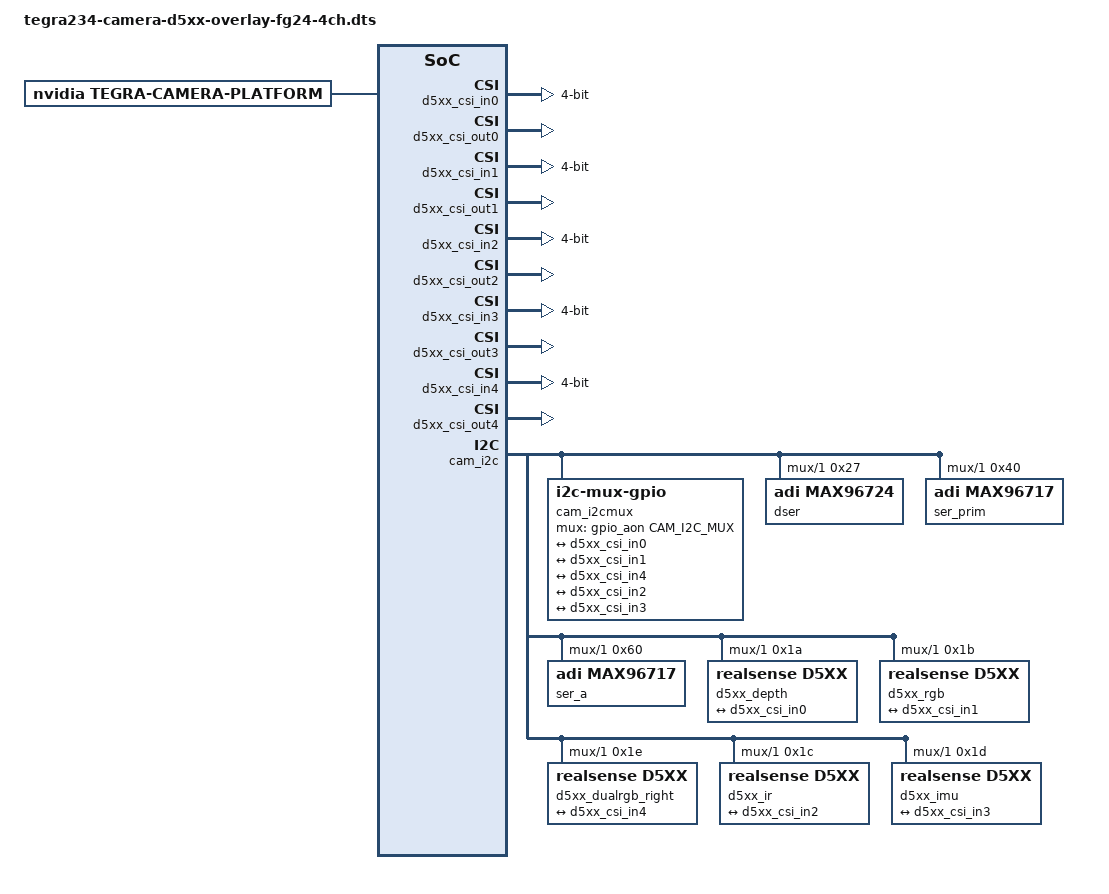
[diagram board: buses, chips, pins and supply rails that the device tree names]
// SPDX-License-Identifier: GPL-2.0-only
// SPDX-FileCopyrightText: Copyright (c) 2026, RealSense CORPORATION.  All rights reserved.

/*
 * Device tree overlay for RealSense D585 depth camera on FangZhu FG24-4CH board:
 *   Serializer:   MAX96717
 *   Deserializer: MAX96724
 *   Camera SoC:   HKR
 *   I2C Mux:      GPIO-based (i2c-mux-gpio)
 *   Board:        FangZhu FG24-4CH (Orin Nano/NX P3767+P3768)
 *
 * NAMING NOTE
 *   "FG24-4CH" is the CARRIER BOARD name (FangZhu 4-channel GMSL board), not the
 *   number of camera streams this overlay declares. This file is the SUPERSET
 *   source for every D5xx stream count: it can emit 4, 5 or 8 CSI virtual
 *   channels depending on D5XX_CHANNEL_COUNT below. Do not add a new .dts per
 *   stream combination.
 *
 * SUPERSET / OVERLAY
 *   overlay  - a /plugin/ device tree compiled to .dtbo and merged by the
 *              bootloader into the base board DTB at boot (fragment@0 /
 *              __overlay__). It patches nodes into the base tree; it does not
 *              replace it. Selected by the OVERLAYS line in
 *              /boot/extlinux/extlinux.conf, so changing it needs a reboot.
 *   superset - declare the MAXIMUM hardware topology once and let the driver
 *              decide at runtime which streams the attached device actually
 *              provides. Streams the device does not report stay registered but
 *              enumerate no formats, so userspace skips them. This keeps the
 *              boot configuration constant while the product stream set
 *              (3C vs 2C) varies. The same mechanism is what a later VC5-VC7
 *              perception overlay plugs into; only VC0-VC4 ship today.
 *
 * VC assignment (SAS D5X5 3.4.5):
 *   VC0 = Depth        Z16                    1280x720  @60
 *   VC1 = RGB          YUY2 / NV12            1920x1080 @30
 *   VC2 = IR           Y8 / Y8I / Y12I        1280x720  @60
 *   VC3 = IMU          RAW8
 *   VC4 = DUALRGB_RIGHT        same profiles as RGB   (D5XX_CHANNEL_COUNT >= 5)
 *
 * LAYER MAPPING for one VC (VC=N)
 *   HKR FlowGmsl        stream slot -> CameraId -> VC N, source DT, output DT
 *   HKR HIF MIPI TX     emits CSI-2 long packets tagged (VC=N, DT)
 *   MAX96717 (SER)      tunnel mode: forwards whole CSI packets, NO per-VC
 *                       remap; ports/port@N below is driver bookkeeping only
 *   GMSL2 link          one serial link carries every VC
 *   MAX96724 (DES)      tunnel mode: ALL VCs of a link share ONE physical pipe
 *                       (Link A -> PIPE_X), refcounted; pixel mode instead binds
 *                       one VC per physical pipe and only has 4, so VC4+ is
 *                       rejected with -EOPNOTSUPP
 *   Orin NVCSI          nvcsi@15a00000/channel@N: the real per-VC demux on the
 *                       host side; port-index 2 = CSI-C ("serial_c")
 *   Orin VI             tegra-capture-vi/port@N: vi_parse_dt() turns each port
 *                       into one tegra_channel at PROBE time
 *   V4L2                each VI channel -> one /dev/videoN (+ one metadata node
 *                       when embedded_metadata_height = 1)
 *   udev                stable alias /dev/video-rs-<stream>-<index>, e.g. DUALRGB_RIGHT
 *                       appears as video-rs-color-1
 *   App                 opens by stable alias or media graph, never by videoN
 *
 *   Per added VC the cost is: +1 SER port node, +1 DES channel node, +1 NVCSI
 *   channel, +1 VI channel, +1 i2c d5xx@ node, +1 cam_module. Only the VI
 *   channel is a real host resource, and the VI channel pool is 64
 *   (DEFAULT_VI_CHANNELS), so 8 is well inside budget. In tunnel mode the extra
 *   VCs do NOT consume extra deserializer pipes.
 *
 * GMSL link:
 *   GMSL2 Tunnel Mode, 6 Gbps
 *   HKR MIPI Tx → MAX96717: 4-lane CSI-2
 *   MAX96724 Port A → Orin NVCSI: 4-lane CSI-2 over the Orin Nano CAM1
 *   22-pin connector.
 *   Lane count is independent of VC count: all VCs share the same 4 lanes.
 *
 * CSI port / control I2C:
 *   The physical CAM1 connector is not auto-bound to I2C by Linux. This
 *   overlay explicitly binds the video path to Orin NVCSI CSI-C via
 *   port-index 2 / tegra_sinterface "serial_c", and binds control I2C to
 *   cam_i2c (i2c@3180000) through the GPIO mux channel 1 node i2c@1
 *   (mux-gpio AON_GPIO(CC,3) driven HIGH). Linux runtime i2c-10 is HDMI DDC
 *   on this platform and is not the camera control bus.
 *
 * I2C address map (7-bit):
 *   GPIO mux:     AON_GPIO(CC, 3)
 *   MAX96724 deser:  0x27
 *   MAX96717 ser:    0x40 (default), 0x60 (aliased)
 *   HKR camera SoC:  0x10 (def-addr)
 *   Sensor aliases:   0x1a (Depth), 0x1b (RGB), 0x1c (IR), 0x1d (IMU),
 *                     0x1e (DUALRGB_RIGHT), 0x1f (Per1), 0x20 (Per2), 0x21 (Per3)
 */

/dts-v1/;
/plugin/;

#include <dt-bindings/clock/tegra234-clock.h>
#include <dt-bindings/gpio/tegra234-gpio.h>
#include <dt-bindings/tegra234-p3767-0000-common.h>

#define CAM_I2C_MUX	TEGRA234_AON_GPIO(CC, 3)

/*
 * Stream-count selector. This is the only FG24-4CH overlay source; future VC
 * expansion raises D5XX_CHANNEL_COUNT here instead of adding another .dts.
 * DUALRGB_RIGHT is a permanent host capability, not a per-SKU build option:
 * the driver only registers VC4 when the device answers on its I2C address,
 * so old firmware and older SDKs keep seeing exactly VC0-VC3.
 * Everything below keys off D5XX_CHANNEL_COUNT, never off the wrapper macro.
 */
#define D5XX_DUAL_RGB 1

#if defined(D5XX_DUAL_RGB)
#define D5XX_CHANNEL_COUNT 5
#else
#define D5XX_CHANNEL_COUNT 4
#endif

/ {
#if D5XX_CHANNEL_COUNT >= 5
	overlay-name = "Jetson RealSense Camera D5xx dual RGB with max96724 on FG24-4CH";
#else
	overlay-name = "Jetson RealSense Camera D5xx with max96724 on FG24-4CH";
#endif
	jetson-header-name = "Jetson 22pin CSI Connector";
	compatible = JETSON_COMPATIBLE_P3768;

	fragment@0 {
		target-path = "/";
		__overlay__ {
			tegra-capture-vi {
				num-channels = <D5XX_CHANNEL_COUNT>;
				ports {
					#address-cells = <1>;
					#size-cells = <0>;

					/* VC0: Depth — Z16 1280x720 @60fps */
					port@0 {
						status = "okay";
						reg = <0>;
						d5xx_vi_in0: endpoint {
							status = "okay";
							vc-id = <0>;
							port-index = <2>;
							bus-width = <4>;
							remote-endpoint = <&d5xx_csi_out0>;
						};
					};

					/* VC1: RGB — YUY2 1920x1080 @30fps */
					port@1 {
						status = "okay";
						reg = <1>;
						d5xx_vi_in1: endpoint {
							status = "okay";
							vc-id = <1>;
							port-index = <2>;
							bus-width = <4>;
							remote-endpoint = <&d5xx_csi_out1>;
						};
					};

					/* VC2: IR — Y8/Y8I/Y12I 1280x720 @60fps */
					port@2 {
						status = "okay";
						reg = <2>;
						d5xx_vi_in2: endpoint {
							status = "okay";
							vc-id = <2>;
							port-index = <2>;
							bus-width = <4>;
							remote-endpoint = <&d5xx_csi_out2>;
						};
					};

					/* VC3: IMU — RAW8 */
					port@3 {
						status = "okay";
						reg = <3>;
						d5xx_vi_in3: endpoint {
							status = "okay";
							vc-id = <3>;
							port-index = <2>;
							bus-width = <4>;
							remote-endpoint = <&d5xx_csi_out3>;
						};
					};

#if D5XX_CHANNEL_COUNT >= 5
					/* VC4: second RGB channel, enabled by the dual-RGB overlay. */
					port@4 {
						status = "okay";
						reg = <4>;
						d5xx_vi_in4: endpoint {
							status = "okay";
							vc-id = <4>;
							port-index = <2>;
							bus-width = <4>;
							remote-endpoint = <&d5xx_csi_out4>;
						};
					};
#endif
				};
			};

			/*
			 * tegra-camera-platform is REQUIRED. Without it the
			 * tegra_camera_platform driver never probes, leaving
			 * tegra_camera_misc.parent == NULL. At STREAMON,
			 * vi5_power_on() -> tegra_camera_emc_clk_enable() calls
			 * dev_get_drvdata(NULL) -> NULL deref at offset 0x78 ->
			 * kernel panic / instant reboot. The 4 modules below map
			 * the 4 D5xx streams (Depth/RGB/IR/IMU) for bandwidth calc.
			 */
			tegra-camera-platform {
				status = "okay";
				compatible = "nvidia, tegra-camera-platform";
				num_csi_lanes = <4>;
				max_lane_speed = <2000000>;
				min_bits_per_pixel = <10>;
				vi_peak_byte_per_pixel = <2>;
				vi_bw_margin_pct = <25>;
				max_pixel_rate = <7500000>;
				isp_peak_byte_per_pixel = <5>;
				isp_bw_margin_pct = <25>;

				modules {
					cam_module0: module0 {
						badge = "d5xx_depth";
						position = "bottomleft";
						orientation = "1";
						cam_module0_drivernode0: drivernode0 {
							pcl_id = "v4l2_sensor";
							sysfs-device-tree = "/sys/firmware/devicetree/base/bus@0/cam_i2cmux/i2c@1/d5xx@1a";
						};
					};
					cam_module1: module1 {
						badge = "d5xx_rgb";
						position = "centerleft";
						orientation = "1";
						cam_module1_drivernode0: drivernode0 {
							pcl_id = "v4l2_sensor";
							sysfs-device-tree = "/sys/firmware/devicetree/base/bus@0/cam_i2cmux/i2c@1/d5xx@1b";
						};
					};
					cam_module2: module2 {
						badge = "d5xx_ir";
						position = "topleft";
						orientation = "1";
						cam_module2_drivernode0: drivernode0 {
							pcl_id = "v4l2_sensor";
							sysfs-device-tree = "/sys/firmware/devicetree/base/bus@0/cam_i2cmux/i2c@1/d5xx@1c";
						};
					};
					cam_module3: module3 {
						badge = "d5xx_imu";
						position = "frontcenter";
						orientation = "1";
						cam_module3_drivernode0: drivernode0 {
							pcl_id = "v4l2_sensor";
							sysfs-device-tree = "/sys/firmware/devicetree/base/bus@0/cam_i2cmux/i2c@1/d5xx@1d";
						};
					};
#if D5XX_CHANNEL_COUNT >= 5
					cam_module4: module4 {
						badge = "d5xx_dualrgb_right";
						position = "centerright";
						orientation = "1";
						cam_module4_drivernode0: drivernode0 {
							pcl_id = "v4l2_sensor";
							sysfs-device-tree = "/sys/firmware/devicetree/base/bus@0/cam_i2cmux/i2c@1/d5xx@1e";
						};
					};
#endif
				};
			};

			bus@0 {
				host1x@13e00000 {
					nvcsi@15a00000 {
						num-channels = <D5XX_CHANNEL_COUNT>;
						#address-cells = <1>;
						#size-cells = <0>;

						/* NVCSI channel 0: Depth (VC0) */
						channel@0 {
							status = "okay";
							reg = <0>;
							ports {
                                status = "okay";
								#address-cells = <1>;
								#size-cells = <0>;
								port@0 {
									status = "okay";
									reg = <0>;
									d5xx_csi_in0: endpoint@0 {
										status = "okay";
										port-index = <2>;
										bus-width = <4>;
                                        vc-id = <0>;
										remote-endpoint = <&d5xx_depth_out>;
									};
								};
								port@1 {
									status = "okay";
									reg = <1>;
									d5xx_csi_out0: endpoint@1 {
										status = "okay";
										remote-endpoint = <&d5xx_vi_in0>;
									};
								};
							};
						};

						/* NVCSI channel 1: RGB (VC1) */
						channel@1 {
							status = "okay";
							reg = <1>;
							ports {
                                status = "okay";
								#address-cells = <1>;
								#size-cells = <0>;
								port@0 {
									status = "okay";
									reg = <0>;
									d5xx_csi_in1: endpoint@2 {
										status = "okay";
										port-index = <2>;
										bus-width = <4>;
                                        vc-id = <1>;
										remote-endpoint = <&d5xx_rgb_out>;
									};
								};
								port@1 {
									status = "okay";
									reg = <1>;
									d5xx_csi_out1: endpoint@3 {
										status = "okay";
										remote-endpoint = <&d5xx_vi_in1>;
									};
								};
							};
						};

						/* NVCSI channel 2: IR (VC2) */
						channel@2 {
							status = "okay";
							reg = <2>;
							ports {
                                status = "okay";
								#address-cells = <1>;
								#size-cells = <0>;
								port@0 {
									status = "okay";
									reg = <0>;
									d5xx_csi_in2: endpoint@4 {
										status = "okay";
										port-index = <2>;
										bus-width = <4>;
                                        vc-id = <2>;
										remote-endpoint = <&d5xx_ir_out>;
									};
								};
								port@1 {
									status = "okay";
									reg = <1>;
									d5xx_csi_out2: endpoint@5 {
										status = "okay";
										remote-endpoint = <&d5xx_vi_in2>;
									};
								};
							};
						};

						/* NVCSI channel 3: IMU (VC3) */
						channel@3 {
							status = "okay";
							reg = <3>;
							ports {
                                status = "okay";
								#address-cells = <1>;
								#size-cells = <0>;
								port@0 {
									status = "okay";
									reg = <0>;
									d5xx_csi_in3: endpoint@6 {
										status = "okay";
										port-index = <2>;
										bus-width = <4>;
                                        vc-id = <3>;
										remote-endpoint = <&d5xx_imu_out>;
									};
								};
								port@1 {
									status = "okay";
									reg = <1>;
									d5xx_csi_out3: endpoint@7 {
										status = "okay";
										remote-endpoint = <&d5xx_vi_in3>;
									};
								};
							};
						};

#if D5XX_CHANNEL_COUNT >= 5
						/* NVCSI channel 4: second RGB stream (VC4) */
						channel@4 {
							status = "okay";
							reg = <4>;
							ports {
								status = "okay";
								#address-cells = <1>;
								#size-cells = <0>;
								port@0 {
									status = "okay";
									reg = <0>;
									d5xx_csi_in4: endpoint@8 {
										status = "okay";
										port-index = <2>;
										bus-width = <4>;
										vc-id = <4>;
										remote-endpoint = <&d5xx_dualrgb_right_out>;
									};
								};
								port@1 {
									status = "okay";
									reg = <1>;
									d5xx_csi_out4: endpoint@9 {
										status = "okay";
										remote-endpoint = <&d5xx_vi_in4>;
									};
								};
							};
						};
#endif
					};
				};

				cam_i2cmux {
					compatible = "i2c-mux-gpio";
					#address-cells = <1>;
					#size-cells = <0>;
					i2c-parent = <&cam_i2c>;
					mux-gpios = <&gpio_aon CAM_I2C_MUX GPIO_ACTIVE_HIGH>;

					/*
					 * Camera control path for this CAM1-wired design:
					 * cam_i2c -> GPIO mux channel 1 (i2c@1, mux-gpio HIGH).
					 * The video path is selected separately by serial_c /
					 * port-index 2 on all NVCSI and sensor endpoints.
					 */
					i2c@1 {
						reg = <1>;
						#address-cells = <1>;
						#size-cells = <0>;

						/*
						 * MAX96724 Deserializer
						 * I2C addr: 0x27 (7-bit)
						 * csi-mode: "2x4" — Controller1→PortA, 4-lane output
						 * max-src: 1 — single D585 camera on link
						 * gmsl-link-speed: 6 — 6Gbps GMSL2
						 */
						dser: max96724@27 {
							status = "okay";
							reg = <0x27>;
							compatible = "adi,max96724";
							csi-mode = "2x4";
							max-src = <1>;
							gmsl-link-speed = <6>;
						};

						/*
						 * MAX96717 primary serializer at power-on address.
						 * Used by max96717_setup_control() to move the
						 * serializer from 0x40 to aliased 0x60.
						 */
						ser_prim: max96717_prim@40 {
							status = "okay";
							compatible = "adi,max96717";
							reg = <0x40>;
							is-prim-ser;
						};

						/*
						 * MAX96717 Serializer alias after address reassignment.
						 * Single 4-lane CSI-2 D-PHY input.
						 */
						ser_a: max96717_a@60 {
							status = "okay";
							compatible = "adi,max96717";
							reg = <0x60>;
							maxim,gmsl-dser-device = <&dser>;
						};

						/*
						 * D585 Depth stream — VC0
						 * Z16, 1280x720, 60fps
						 */
						d5xx_depth: d5xx@1a {
							status = "okay";
							def-addr = <0x10>;
							reg = <0x1a>;
							compatible = "realsense,d5xx";
							use_sensor_mode_id = "true";
							cam-type = "Depth";
							nvidia,gmsl-ser-device = <&ser_a>;
							nvidia,gmsl-dser-device = <&dser>;

							ports {
								#address-cells = <1>;
								#size-cells = <0>;

								port@0 {
									reg = <0>;
									d5xx_depth_out: endpoint {
										vc-id = <0>;
										port-index = <2>;
										bus-width = <4>;
										remote-endpoint = <&d5xx_csi_in0>;
									};
								};
							};

							/*
							 * Pixel clock reference for mixed-VC tunnel mode:
							 *   pix_clk_hz = lane_rate_bps * lane_count / bits_per_pixel
							 *
							 * The MAX96724->Orin D-PHY output is configured to
							 * 2.0Gbps/lane over 4 lanes, so the payload budget is
							 * 2,000,000,000 * 4 = 8,000,000,000 bits/s.
							 *
							 * Tunnel mode carries each source packet as-is. There is
							 * no single rewritten DES-side BPP when VC0-3 run
							 * concurrently, so each Orin mode uses its own
							 * csi_pixel_bit_depth:
							 *   16-bit modes: 8,000,000,000 / 16 = 500,000,000 Hz
							 *   8-bit modes:  8,000,000,000 /  8 = 1,000,000,000 Hz
							 *
							 * Aggregate bandwidth closure is still checked against
							 * the shared 4-lane physical link and the 6Gbps GMSL2
							 * forward link; pix_clk_hz here is the per-mode parser
							 * clock NVIDIA uses for VI/NVCSI bandwidth setup.
							 */
							mode0 {
								pixel_t = "yuv_uyvy16";
								num_lanes = "4";
								csi_pixel_bit_depth = "16";
								active_w = "1280";
								active_h = "720";
								tegra_sinterface = "serial_c";
								phy_mode = "DPHY";
								discontinuous_clk = "no";
								cil_settletime = "0";
								deskew_initial_enable = "true";
								deskew_periodic_enable = "true";
								mclk_khz = "24000";
								pix_clk_hz = "500000000";
								serdes_pix_clk_hz = "500000000";
								line_length = "1280";
								embedded_metadata_height = "1";
							};

							gmsl-link {
								src-csi-port = "a";
								dst-csi-port = "a";
								serdes-csi-link = "a";
								csi-mode = "1x4";
								st-vc = <0>;
								vc-id = <0>;
								num-lanes = <4>;
							};
						};

						/*
						 * D585 RGB stream — VC1
						 * YUY2, 1920x1080, 30fps
						 */
						d5xx_rgb: d5xx@1b {
							status = "okay";
							def-addr = <0x10>;
							reg = <0x1b>;
							override_reg = <0x1a>;
							compatible = "realsense,d5xx";
							use_sensor_mode_id = "true";
							cam-type = "RGB";
							nvidia,gmsl-ser-device = <&ser_a>;
							nvidia,gmsl-dser-device = <&dser>;

							ports {
								#address-cells = <1>;
								#size-cells = <0>;

								port@0 {
									reg = <0>;
									d5xx_rgb_out: endpoint {
										vc-id = <1>;
										port-index = <2>;
										bus-width = <4>;
										remote-endpoint = <&d5xx_csi_in1>;
									};
								};
							};

							mode0 {
								pixel_t = "yuv_yuyv16";
								num_lanes = "4";
								csi_pixel_bit_depth = "16";
								active_w = "1920";
								active_h = "1080";
								tegra_sinterface = "serial_c";
								phy_mode = "DPHY";
								discontinuous_clk = "no";
								cil_settletime = "0";
								deskew_initial_enable = "true";
								deskew_periodic_enable = "true";
								mclk_khz = "24000";
								pix_clk_hz = "500000000";
								serdes_pix_clk_hz = "500000000";
								line_length = "1920";
								embedded_metadata_height = "1";
							};

							gmsl-link {
								src-csi-port = "a";
								dst-csi-port = "a";
								serdes-csi-link = "a";
								csi-mode = "1x4";
								st-vc = <1>;
								vc-id = <1>;
								num-lanes = <4>;
							};
						};

#if D5XX_CHANNEL_COUNT >= 5
						/*
						 * D585 second RGB stream — VC4
						 * Reuses the RGB format/profile table; HKR AutoSrc supplies
						 * the initial source until a second physical RGB is integrated.
						 */
						d5xx_dualrgb_right: d5xx@1e {
							status = "okay";
							def-addr = <0x10>;
							reg = <0x1e>;
							override_reg = <0x1a>;
							compatible = "realsense,d5xx";
							use_sensor_mode_id = "true";
							cam-type = "DUALRGB_RIGHT";
							nvidia,gmsl-ser-device = <&ser_a>;
							nvidia,gmsl-dser-device = <&dser>;

							ports {
								#address-cells = <1>;
								#size-cells = <0>;

								port@0 {
									reg = <0>;
									d5xx_dualrgb_right_out: endpoint {
										vc-id = <4>;
										port-index = <2>;
										bus-width = <4>;
										remote-endpoint = <&d5xx_csi_in4>;
									};
								};
							};

							mode0 {
								pixel_t = "yuv_yuyv16";
								num_lanes = "4";
								csi_pixel_bit_depth = "16";
								active_w = "1920";
								active_h = "1080";
								tegra_sinterface = "serial_c";
								phy_mode = "DPHY";
								discontinuous_clk = "no";
								cil_settletime = "0";
								deskew_initial_enable = "true";
								deskew_periodic_enable = "true";
								mclk_khz = "24000";
								pix_clk_hz = "500000000";
								serdes_pix_clk_hz = "500000000";
								line_length = "1920";
								embedded_metadata_height = "1";
							};

							gmsl-link {
								src-csi-port = "a";
								dst-csi-port = "a";
								serdes-csi-link = "a";
								csi-mode = "1x4";
								st-vc = <4>;
								vc-id = <4>;
								num-lanes = <4>;
							};
						};
#endif

						/*
						 * D585 IR stream — VC2
						 * Y8/Y8I/Y12I, 1280x720, 60fps
						 */
						d5xx_ir: d5xx@1c {
							status = "okay";
							def-addr = <0x10>;
							reg = <0x1c>;
							override_reg = <0x1a>;
							compatible = "realsense,d5xx";
							use_sensor_mode_id = "true";
							cam-type = "Y8";
							nvidia,gmsl-ser-device = <&ser_a>;
							nvidia,gmsl-dser-device = <&dser>;

							ports {
								#address-cells = <1>;
								#size-cells = <0>;

								port@0 {
									reg = <0>;
									d5xx_ir_out: endpoint {
										vc-id = <2>;
										port-index = <2>;
										bus-width = <4>;
										remote-endpoint = <&d5xx_csi_in2>;
									};
								};
							};

							mode0 {
								/* Y8: 8-bit raw IR */
								pixel_t = "grey_y8";
								num_lanes = "4";
								csi_pixel_bit_depth = "8";
								active_w = "1280";
								active_h = "720";
								tegra_sinterface = "serial_c";
								phy_mode = "DPHY";
								discontinuous_clk = "no";
								cil_settletime = "0";
								/*
								 * No deskew here. tegra_csi deskew_setup() calls
								 * nvcsi_deskew_setup() whenever a mode declares
								 * deskew_initial_enable and its (serdes_)pix_clk_hz
								 * reaches CLK_HZ_FOR_DESKEW (750 MHz). In JetPack 6.x
								 * nvidia-oot nothing ever calls
								 * nvcsi_deskew_platform_setup(), so deskew.c's mc_csi
								 * stays NULL and that path dereferences NULL on
								 * STREAMON. Same reason the IMU mode dropped deskew.
								 * Any mode at or above 750 MHz must leave deskew off.
								 */
								mclk_khz = "24000";
								pix_clk_hz = "1000000000";
								serdes_pix_clk_hz = "1000000000";
								line_length = "1280";
								embedded_metadata_height = "1";
							};

							mode1 {
								/* Y8I: 16-bit Raw IR interleaved */
								pixel_t = "grey_y16";
								num_lanes = "4";
								csi_pixel_bit_depth = "16";
								active_w = "1280";
								active_h = "720";
								tegra_sinterface = "serial_c";
								phy_mode = "DPHY";
								discontinuous_clk = "no";
								cil_settletime = "0";
								deskew_initial_enable = "true";
								deskew_periodic_enable = "true";
								mclk_khz = "24000";
								pix_clk_hz = "500000000";
								serdes_pix_clk_hz = "500000000";
								line_length = "1280";
								embedded_metadata_height = "1";
							};

							gmsl-link {
								src-csi-port = "a";
								dst-csi-port = "a";
								serdes-csi-link = "a";
								csi-mode = "1x4";
								st-vc = <2>;
								vc-id = <2>;
								num-lanes = <4>;
							};
						};

						/*
						 * D585 IMU stream — VC3
						 * RAW8 logical stream
						 */
						d5xx_imu: d5xx@1d {
							status = "okay";
							def-addr = <0x10>;
							reg = <0x1d>;
							override_reg = <0x1a>;
							compatible = "realsense,d5xx";
							use_sensor_mode_id = "true";
							cam-type = "IMU";
							nvidia,gmsl-ser-device = <&ser_a>;
							nvidia,gmsl-dser-device = <&dser>;

							ports {
								#address-cells = <1>;
								#size-cells = <0>;

								port@0 {
									reg = <0>;
									d5xx_imu_out: endpoint {
										vc-id = <3>;
										port-index = <2>;
										bus-width = <4>;
										remote-endpoint = <&d5xx_csi_in3>;
									};
								};
							};

							mode0 {
								pixel_t = "grey_y8";
								num_lanes = "4";
								csi_pixel_bit_depth = "8";
								active_w = "640";
								active_h = "480";
								tegra_sinterface = "serial_c";
								phy_mode = "DPHY";
								discontinuous_clk = "no";
								cil_settletime = "0";
								mclk_khz = "24000";
								pix_clk_hz = "1000000000";
								serdes_pix_clk_hz = "1000000000";
								line_length = "640";
								embedded_metadata_height = "0";
							};

							gmsl-link {
								src-csi-port = "a";
								dst-csi-port = "a";
								serdes-csi-link = "a";
								csi-mode = "1x4";
								st-vc = <3>;
								vc-id = <3>;
								num-lanes = <4>;
							};
						};
					};
				};
			};
		};
	};
};
